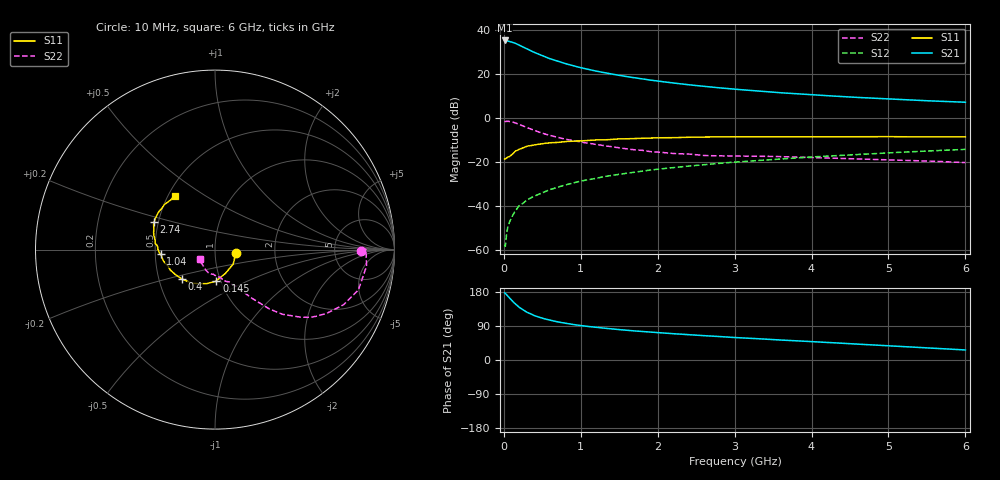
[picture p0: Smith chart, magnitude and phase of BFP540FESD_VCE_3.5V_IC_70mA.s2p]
! Infineon Technologies  Discrete & RF Semiconductors
! BFP540FESD
! VCE =  3.5 V,  IC =  70 mA
! Common Emitter S-Parameters:  Nov 2015
# GHz  S  MA  R  50
!  f  S11  S21  S12  S22
! GHz  MAG  ANG  MAG  ANG  MAG  ANG  MAG  ANG
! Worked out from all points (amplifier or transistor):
!   210 points, 10 MHz to 6 GHz, reference 50 ohm
!   highest |S21| = 35.4 dB at 10 MHz (marker M1)
!   |S21| within 3 dB of that: start of sweep to 250.7 MHz
!   unconditionally stable (mu >= 1): start of sweep to 40.2 MHz; 1.028 GHz to end of sweep
!   at 185 MHz: K = 0.59, MSG = 37.1 dB, |S12| = -40.6 dB
!   at 1.52 GHz: K = 1.06, MAG = 21.0 dB, |S12| = -25.5 dB
!   at 6 GHz: K = 1.18, MAG = 8.2 dB, |S12| = -14.3 dB
!   S11 on the Smith chart (normalised r, x): 10 MHz: 1.26, -0.05; 145 MHz: 0.96, -0.34; 400 MHz: 0.66, -0.23; 1.04 GHz: 0.53, -0.03; 2.74 GHz: 0.47, +0.17; 6 GHz: 0.54, +0.38
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0.01  0.1162 -9.2  58.94 177.3  0.0013 112.7  0.8133 -0.5
0.02  0.1185 -20.7  57.3 175.7  0.0012 96.5  0.8408 0.1
0.05  0.1297 -38.8  57.28 168.9  0.0032 86.8  0.8494 -6.2
0.1  0.1457 -67.2  54.39 157.6  0.0054 78.1  0.83 -15.7
0.145  0.173 -87.5  51.07 148.8  0.0074 73.2  0.7838 -22.4
0.2  0.1946 -103.4  46.14 139.0  0.0101 73.9  0.7169 -29.7
0.24  0.2062 -112.9  42.6 133.6  0.0111 74.0  0.6726 -33.6
0.3  0.2285 -125.4  37.89 126.0  0.0136 72.8  0.6077 -38.3
0.4  0.2467 -138.6  31.28 116.8  0.0167 71.8  0.5205 -43.8
0.5  0.2614 -148.2  26.39 110.0  0.0197 72.6  0.4509 -47.4
0.6  0.2742 -155.7  22.57 104.8  0.0234 72.0  0.4006 -49.5
0.8  0.2925 -166.8  17.45 96.8  0.0298 72.9  0.3301 -53.5
1.02  0.3026 -174.5  13.85 90.4  0.0372 71.8  0.2809 -56.3
1.04  0.3044 -175.1  13.6 90.0  0.0377 71.9  0.2773 -56.8
1.2  0.3176 -180.0  11.79 86.2  0.0424 71.7  0.2505 -59.5
1.5  0.3356 174.1  9.42 80.2  0.0523 69.4  0.2109 -65.0
2.02  0.3555 164.1  6.911 71.9  0.0687 66.6  0.167 -76.9
2.74  0.3718 155.7  5.017 62.6  0.0915 62.2  0.1383 -93.5
3.1  0.3754 152.0  4.418 58.3  0.1018 59.8  0.1362 -100.2
4.1  0.3769 145.1  3.321 47.4  0.1327 53.1  0.1245 -114.5
5.1  0.3759 137.1  2.685 36.4  0.1645 45.0  0.1103 -127.9
6  0.3741 126.5  2.298 26.5  0.1933 37.3  0.0965 -147.9
